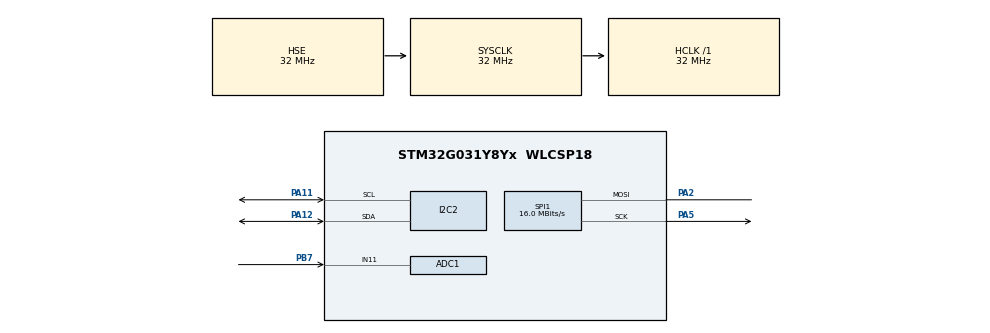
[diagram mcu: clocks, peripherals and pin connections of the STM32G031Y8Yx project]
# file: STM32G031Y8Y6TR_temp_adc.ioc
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ADC1.Channel-1\#ChannelRegularConversion=ADC_CHANNEL_11
ADC1.NbrOfConversionFlag=1
ADC1.Rank-1\#ChannelRegularConversion=1
ADC1.SamplingTime-1\#ChannelRegularConversion=ADC_SAMPLINGTIME_COMMON_1
ADC1.SelectedChannel=ADC_CHANNEL_11
ADC1.master=1
Dma.Request0=SPI1_TX
Dma.SPI1_TX.0.Direction=DMA_MEMORY_TO_PERIPH
Dma.SPI1_TX.0.EventEnable=DISABLE
Dma.SPI1_TX.0.Instance=DMA1_Channel1
Dma.SPI1_TX.0.MemDataAlignment=DMA_MDATAALIGN_BYTE
Dma.SPI1_TX.0.MemInc=DMA_MINC_ENABLE
Dma.SPI1_TX.0.Mode=DMA_NORMAL
Dma.SPI1_TX.0.PeriphDataAlignment=DMA_PDATAALIGN_BYTE
Dma.SPI1_TX.0.PeriphInc=DMA_PINC_DISABLE
Dma.SPI1_TX.0.Polarity=HAL_DMAMUX_REQ_GEN_RISING
Dma.SPI1_TX.0.Priority=DMA_PRIORITY_LOW
Dma.SPI1_TX.0.RequestNumber=1
Dma.SPI1_TX.0.SignalID=NONE
Dma.SPI1_TX.0.SyncEnable=DISABLE
Dma.SPI1_TX.0.SyncPolarity=HAL_DMAMUX_SYNC_NO_EVENT
Dma.SPI1_TX.0.SyncRequestNumber=1
Dma.SPI1_TX.0.SyncSignalID=NONE
I2C2.Timing=0x00B07CB4
Mcu.Family=STM32G0
Mcu.Name=STM32G031Y8Yx
Mcu.Package=WLCSP18
NVIC.DMA1_Channel1_IRQn=true\:0\:0\:false\:false\:true\:false\:true\:true
PA11\ [PA9].Mode=I2C
PA11\ [PA9].Signal=I2C2_SCL
PA12\ [PA10].Mode=I2C
PA12\ [PA10].Signal=I2C2_SDA
PA14-BOOT0__PA15.StandardMode=true
PA2.Mode=Simplex_Bidirectional_Master
PA2.Signal=SPI1_MOSI
PA3__PA4.StandardMode=true
PA5.Mode=Simplex_Bidirectional_Master
PA5.Signal=SPI1_SCK
PB0__PB1__PB2__PA8.StandardMode=true
PB3__PB4__PB5__PB6.StandardMode=true
PB7.Mode=IN11
PB7.Signal=ADC1_IN11
PB7__PB8.StandardMode=true
PC14-OSC32_IN\ (PC14).Mode=HSE-External-Clock-Source
PC14-OSC32_IN\ (PC14).Signal=RCC_OSC_IN
PC14-OSC32_IN\ (PC14)__PB9.StandardMode=true
PF2\ -\ NRST__PA0.StandardMode=true
ProjectManager.HeapSize=0x200
ProjectManager.StackSize=0x400
ProjectManager.TargetToolchain=STM32CubeIDE
RCC.ADCFreq_Value=32000000
RCC.AHBFreq_Value=32000000
RCC.CortexFreq_Value=32000000
RCC.EXTERNAL_CLOCK_VALUE=12288000
RCC.HCLKFreq_Value=32000000
RCC.HSE_VALUE=32000000
RCC.HSI_VALUE=16000000
RCC.LSE_VALUE=32768
RCC.SYSCLKFreq_VALUE=32000000
RCC.SYSCLKSource=RCC_SYSCLKSOURCE_HSE
RCC.VCOOutputFreq_Value=128000000
SPI1.CalculateBaudRate=16.0 MBits/s
SPI1.Direction=SPI_DIRECTION_1LINE
SPI1.Mode=SPI_MODE_MASTER
SPI1.VirtualType=VM_MASTER
board=custom

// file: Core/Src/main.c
/* USER CODE BEGIN Header */
/**
  ******************************************************************************
  * @file           : main.c
  * @brief          : Main program body
  ******************************************************************************
  * @attention
  *
  * Copyright (c) 2025 STMicroelectronics.
  * All rights reserved.
  *
  * This software is licensed under terms that can be found in the LICENSE file
  * in the root directory of this software component.
  * If no LICENSE file comes with this software, it is provided AS-IS.
  *
  ******************************************************************************
  */
/* USER CODE END Header */
#include "main.h"

/* USER CODE BEGIN Includes */
#include <string.h> // For memcpy
#include "../Inc/jv_bt+packet_lib/jv_bt+packet.h"
#include "../Inc/jv_bt+packet_lib/jv_bt+bsc.h"
#include "../Inc/jv_bt+packet_lib/crc.h"

#define BLE_CHANNEL 37

#define BLE_PACKET_TYPE UNCODED_1MBPS
//#define BLE_PACKET_TYPE UNCODED_2MBPS
//#define BLE_PACKET_TYPE CODED_S2
//#define BLE_PACKET_TYPE CODED_S8

volatile uint8_t spiTxComplete = 0;

// Variables for BLE Packet Generation (mimicking different_project)
uint8_t AdvA[] = {0x12, 0x34, 0x56, 0x78, 0x9a, 0xbc}; // Example AdvA
//uint8_t AdvA[] = {0xab, 0xab, 0xab, 0xab, 0xab, 0xab};

uint8_t AdvData[] = {0xb5, 0xef, 0xbe, 0x01, 0x00, 0x0f, //Data
					0x6d, 0x16, 0xbb, 0xa9, 0xa2, 0x7c,
					0xa6, 0x80, 0x42, 0x60, 0x59, 0x20,
					0x01, 0x6c, 0x41, 0x15, 0x02,
					0x00, 0x4c, //Company ID (Apple, Inc.)
					0xff, //Type (Manufacturer Specific)
					0x1a, //length of (Data)+(CompanyID)+(Type) = 26
					0x04, //sets "BR/EDR Not Supported" to be true  	<-- ??idk what that term means??
						  	  	  //
					0x01, //Type (Flags) 								<-- ??idk what this means??
					0x02}; //length of flags = 2

uint8_t AdvData[30]; // Declared as a fixed-size array to hold dynamic data

jv_ble_pdu pdu;
jv_ble_packet packet;
uint32_t ble_tx_buffer[200]; // Buffer for upscaled data
uint32_t upscaled_length;    // Length of upscaled data in bytes
/* USER CODE END Includes */

/* USER CODE BEGIN PTD */
#define ADC_VREF_VOLTAGE 2.5f

#include <stdio.h> // For sprintf, if you want to print to console
//#include <string.h> // library already included above

#define STS40_I2C_ADDR (0x46 << 1) // STM32 HAL uses 8-bit address

#define DATA_BUFFER_SIZE 100
float temperature_buffer[DATA_BUFFER_SIZE];
float voltage_buffer[DATA_BUFFER_SIZE];     // Voltage buffer
uint16_t data_buffer_index = 0;             // Using one index for both buffers

// STS40 Measurement Command (High Precision)
const uint8_t cmd_measure_temp_high_precision[] = {0xFD}; // Example command byte

// STS40 Soft Reset Command
const uint8_t cmd_soft_reset[] = {0x94}; // Example command byte
/* USER CODE END PTD */

ADC_HandleTypeDef hadc1;

I2C_HandleTypeDef hi2c2;

SPI_HandleTypeDef hspi1;
DMA_HandleTypeDef hdma_spi1_tx;

void SystemClock_Config(void);
static void MX_GPIO_Init(void);
static void MX_DMA_Init(void);
static void MX_ADC1_Init(void);
static void MX_I2C2_Init(void);
static void MX_SPI1_Init(void);

/* USER CODE BEGIN 0 */
/* Private user code ---------------------------------------------------------*/
/* USER CODE BEGIN 0 */
/**
  * @brief  Calculates CRC-8 checksum for Sensirion sensors.
  * @param  data Pointer to the data array.
  * @param  len  Length of the data array (should be 2 for temperature).
  * @retval CRC-8 checksum.
  */
uint8_t sensirion_common_crc8(const uint8_t* data, uint8_t len) {
    uint8_t crc = 0xFF; // Initialization value
    const uint8_t polynomial = 0x31;

    for (uint8_t i = 0; i < len; ++i) {
        crc ^= data[i];
        for (uint8_t j = 0; j < 8; ++j) {
            if (crc & 0x80) {
                crc = (crc << 1) ^ polynomial;
            } else {
                crc = (crc << 1);
            }
        }
    }
    return crc;
}
/* USER CODE END 0 */

/* USER CODE BEGIN 4 */

/**
  * @brief  Performs a soft reset on the STS40 sensor.
  * @param  hi2c Pointer to a I2C_HandleTypeDef structure that contains
  * the configuration information for the specified I2C.
  * @retval HAL_StatusTypeDef
  */
HAL_StatusTypeDef sts40_soft_reset(I2C_HandleTypeDef *hi2c) {
    HAL_StatusTypeDef status;
    status = HAL_I2C_Master_Transmit(hi2c, STS40_I2C_ADDR, (uint8_t*)cmd_soft_reset, sizeof(cmd_soft_reset), HAL_MAX_DELAY);
    if (status == HAL_OK) {
        HAL_Delay(2); // Wait for reset to complete (typically ~1ms for STS4x)
    }
    return status;
}

/**
  * @brief  Reads temperature from the STS40 sensor.
  * @param  hi2c Pointer to a I2C_HandleTypeDef structure that contains
  * the configuration information for the specified I2C.
  * @param  temperature Pointer to a float where the temperature in Celsius will be stored.
  * @retval HAL_StatusTypeDef HAL_OK if successful, HAL_ERROR otherwise (includes CRC mismatch).
  */
HAL_StatusTypeDef sts40_read_temperature(I2C_HandleTypeDef *hi2c, float *temperature) {
    HAL_StatusTypeDef status;
    uint8_t i2c_data[3]; // 2 bytes for temp, 1 byte for CRC

    // 1. Send Measurement Command
    status = HAL_I2C_Master_Transmit(hi2c, STS40_I2C_ADDR, (uint8_t*)cmd_measure_temp_high_precision, sizeof(cmd_measure_temp_high_precision), HAL_MAX_DELAY);
    if (status != HAL_OK) {
        return status;
    }

    // 2. Wait for measurement to complete (High precision typically ~8.5 ms, check datasheet)
    // For STS40, typical measurement duration for high precision is 8.5ms.
    HAL_Delay(10); // Wait 10ms

    // 3. Read Temperature Data (2 bytes) and CRC (1 byte)
    status = HAL_I2C_Master_Receive(hi2c, STS40_I2C_ADDR, i2c_data, 3, HAL_MAX_DELAY);
    if (status != HAL_OK) {
        return status;
    }

    // 4. CRC Check
    uint8_t received_crc = i2c_data[2];
    uint8_t calculated_crc = sensirion_common_crc8(i2c_data, 2); // CRC is calculated over the two data bytes

    if (received_crc != calculated_crc) {
        return HAL_ERROR; // CRC Mismatch
    }

    // 5. Convert Raw Data to Temperature
    // Temperature raw data is MSB first
    uint16_t raw_temp_ticks = ((uint16_t)i2c_data[0] << 8) | i2c_data[1];

    // Formula for STS4x: Temperature_C = -45 + 175 * (raw_temp_ticks / (2^16 - 1))
    // Or, if the sensor output is scaled ticks: Temperature_C = (raw_temp_ticks * 175 / 65535.0) - 45;
    // A common Sensirion scaling is also T = raw / 200.0 for some sensors,
    // or T_ticks / 65535 * 175 – 45
    // For STS4x specifically, the formula is: T [°C] = -45 + 175 * (S_T / (2^16 - 1))
    *temperature = -45.0f + 175.0f * (float)raw_temp_ticks / 65535.0f;

    return HAL_OK;
}
/* USER CODE END 0 */

/**
  * @brief  The application entry point.
  * @retval int
  */

/*
void HAL_SPI_TxCpltCallback(SPI_HandleTypeDef *hspi){
	spiTxComplete = 1;
}*/

int main(void)
{

  /* USER CODE BEGIN 1 */
	uint32_t raw_adc_value;
	float current_voltage;

  /* USER CODE END 1 */

  /* MCU Configuration--------------------------------------------------------*/

  /* Reset of all peripherals, Initializes the Flash interface and the Systick. */
  HAL_Init();

  /* USER CODE BEGIN Init */

  /* USER CODE END Init */

  /* Configure the system clock */
  SystemClock_Config();

  /* USER CODE BEGIN SysInit */

  /* USER CODE END SysInit */

  /* Initialize all configured peripherals */
  MX_GPIO_Init();
  MX_DMA_Init();
  MX_ADC1_Init();
  MX_I2C2_Init();
  MX_SPI1_Init();
  /* USER CODE BEGIN 2 */

  /* USER CODE END 2 */

  /* Infinite loop */
  /* USER CODE BEGIN WHILE */

  //only transmitting a fixed number of dynamic BLE packets
      //HAL_Delay(7000);

  /*uint16_t transmit_num = 10000;
        while (1)
            {
      	  uint16_t i = 0;
      	  while (i < transmit_num) {
                float current_temperature;
                HAL_StatusTypeDef sensor_status = sts40_read_temperature(&hi2c2, &current_temperature);

                	// --- ADC Voltage Reading ---
          		HAL_ADC_Start(&hadc1); // Start ADC conversion
          		if (HAL_ADC_PollForConversion(&hadc1, HAL_MAX_DELAY) == HAL_OK) // Poll for end of conversion
          		{
          			raw_adc_value = HAL_ADC_GetValue(&hadc1); // Get raw ADC value
          			current_voltage = (raw_adc_value / 4095.0f) * ADC_VREF_VOLTAGE; // Calculate voltage
          		}
          		else
          		{
          			// Handle ADC conversion error if necessary
          			current_voltage = -1.0f; // Indicate error or default value
          			// Optional: Print ADC error to UART
          			// char error_uart_buf[50];
          			// sprintf(error_uart_buf, "ADC Read Error\r\n");
          			// HAL_UART_Transmit(&huart2, (uint8_t*)error_uart_buf, strlen(error_uart_buf), HAL_MAX_DELAY);
          		}
          		HAL_ADC_Stop(&hadc1); // Stop ADC (optional if not much else is time critical right after)
          		// --- End ADC Voltage Reading ---

                if (sensor_status == HAL_OK) {
                    // Store temperature and voltage in buffer
          		  temperature_buffer[data_buffer_index] = current_temperature;
          		  voltage_buffer[data_buffer_index] = current_voltage;

          		  // Increment and manage buffer index
          			data_buffer_index++;
          			if (data_buffer_index >= DATA_BUFFER_SIZE) {
          				data_buffer_index = 0; // Reset index, overwrite oldest
          			}

          			// Print temperature and voltage via UART
          			//char uart_buf[100]; // Adjusted buffer size for more data
          			//sprintf(uart_buf, "Temp: %.2f C, Volt: %.2f V\r\n", current_temperature, current_voltage);
          			//HAL_UART_Transmit(&huart2, (uint8_t*)uart_buf, strlen(uart_buf), HAL_MAX_DELAY);

                    // Optional: Print temperature (e.g., via UART)
                    //char uart_buf[50];
                    //sprintf(uart_buf, "Temperature: %.2f C\r\n", current_temperature);
                    //HAL_UART_Transmit(&huart2, (uint8_t*)uart_buf, strlen(uart_buf), HAL_MAX_DELAY); // Assuming huart1 is configured

          			// **** START OF ADDED CODE FOR AdvData AND BLE TRANSMISSION ****
      			  // Store current_temperature and current_voltage in AdvData array
      			  // Temperature (4 bytes) at AdvData[0-3]
      			  memcpy(&AdvData[0], &current_temperature, sizeof(float));

      			  // Delimiter (1 byte) at AdvData[4]
      			  AdvData[4] = 0x00; // Set delimiter byte to zero

      			  // Voltage (4 bytes) at AdvData[5-8]
      			  memcpy(&AdvData[5], &current_voltage, sizeof(float));

      			  // Fill the rest of AdvData with zeros (from index 9 to 29)
      			  // sizeof(AdvData) is 30, so 30 - 9 = 21 bytes to zero out
      			  memset(&AdvData[9], 0x00, sizeof(AdvData) - 9);

      			  // --- BLE Packet Generation ---
      			  // 1. Create PDU (re-create each time with updated AdvData)
      			  if (create_legacy_advertising_pdu(&pdu, AdvA, sizeof(AdvA), AdvData, sizeof(AdvData)) != 0) {
      				  Error_Handler(); // Handle error if PDU creation fails
      			  }

      			  // 2. Initialize Packet (includes whitening, CRC)
      			  if (init_packet(&packet, BLE_CHANNEL, &pdu, BLE_PACKET_TYPE) != 0) {
      				  Error_Handler(); // Handle error if packet init fails
      			  }

      			//memset(packet.whitened_packet, 0x00, packet.packet_len);
      			//memset(packet.whitened_packet, 0xFF, packet.packet_len);

      			  // 3. Upscale packet for backscatter transmission
      			  #if BLE_PACKET_TYPE == UNCODED_1MBPS
      				  upscaled_length = jv_bsc_upscale_1Mbps(ble_tx_buffer, packet.whitened_packet, packet.packet_len);
      			  #elif BLE_PACKET_TYPE == UNCODED_2MBPS
      				  upscaled_length = jv_bsc_upscale_2Mbps(ble_tx_buffer, packet.whitened_packet, packet.packet_len);
      			  #else
      				  #error "Unsupported BLE_PACKET_TYPE for jv_bsc_upscale"
      			  #endif

      			  //REVERSE BITS
      			  uint8_t *p_tx_buffer_byte = (uint8_t *)ble_tx_buffer;
    			  for (uint32_t k = 0; k < upscaled_length; k++) {
    				  p_tx_buffer_byte[k] = ~p_tx_buffer_byte[k]; // Apply bitwise NOT to each byte
    			  }

      			  // --- SPI DMA Transmission for a single packet ---
      			  spiTxComplete = 0; // Reset transmission complete flag

      			  // Transmit the upscaled packet buffer.
      			  if (HAL_SPI_Transmit_DMA(&hspi1, (uint8_t*)ble_tx_buffer, (uint16_t)upscaled_length) != HAL_OK)
      			  {
      				Error_Handler();
      			  }

      			  // Wait for DMA transmission to complete (flag set in HAL_SPI_TxCpltCallback)
      			  while (spiTxComplete == 0)
      			  {
      				 // You can add a small delay or WFE instruction here if needed
      			  }
      			  // **** END OF ADDED CODE ****

                } else if (sensor_status == HAL_ERROR) {
                    // Handle CRC error or other I2C communication error with sensor
              	  //char uart_buf[100]; // Adjusted buffer size
          		  // Also print the last known or error voltage if desired
          		  //sprintf(uart_buf, "Sensor Error, Last Volt: %.2f V\r\n", current_voltage);
          	      //HAL_UART_Transmit(&huart2, (uint8_t*)uart_buf, strlen(uart_buf), HAL_MAX_DELAY);

                    //char uart_buf[50];
                    //sprintf(uart_buf, "Sensor read error (CRC or I2C)\r\n");
                    //HAL_UART_Transmit(&huart2, (uint8_t*)uart_buf, strlen(uart_buf), HAL_MAX_DELAY);
                    // Consider a sensor reset or other recovery mechanism
                    // sts40_soft_reset(&hi2c2);
                    // HAL_Delay(100);
                } else {
                    // Handle other HAL I2C errors (e.g., NACK, Bus Busy)
              	  //char uart_buf[100]; // Adjusted buffer size
          		  //sprintf(uart_buf, "I2C Bus Error: %d, Last Volt: %.2f V\r\n", sensor_status, current_voltage);
          		  //HAL_UART_Transmit(&huart2, (uint8_t*)uart_buf, strlen(uart_buf), HAL_MAX_DELAY);

                    //char uart_buf[50];
                    //sprintf(uart_buf, "I2C Bus Error: %d\r\n", sensor_status);
                    //HAL_UART_Transmit(&huart2, (uint8_t*)uart_buf, strlen(uart_buf), HAL_MAX_DELAY);
                    // Error_Handler(); // Or attempt I2C recovery
                }

                i++;

                HAL_Delay(10); // Read temperature every 1 second

            }
      	  //HAL_Delay(10000);
         }*/

   //infinite loop
  /*while (1)
      {
    	  // 1. Create PDU
    	    if (create_legacy_advertising_pdu(&pdu, AdvA, sizeof(AdvA), AdvData, sizeof(AdvData)) != 0) {
    	        //pdu = [Pdu_Type, AdvA_len+AdvData_len, Advertising Address, Advertising Data]
    	    		//all sections are bit reversed

    	    	Error_Handler(); // Handle error if PDU creation fails
    	    }

    	    // 2. Initialize Packet (includes whitening, CRC)
    	    if (init_packet(&packet, BLE_CHANNEL, &pdu, BLE_PACKET_TYPE) != 0) {
    	    	//whitened_packet = [Preamble, Access Address]
    	    		//all sections are bit reversed

    	        Error_Handler(); // Handle error if packet init fails
    	    }

    	    //memset(packet.whitened_packet, 0xFF, packet.packet_len);   // all 1s
    	    //memset(packet.whitened_packet, 0x00, packet.packet_len); // all 0s

    	    // 3. Upscale packet for backscatter transmission
    	    // Ensure jv_bsc_upscale points to jv_bsc_upscale_1Mbps if using that encoding
    	    #if BLE_PACKET_TYPE == UNCODED_1MBPS
    	        upscaled_length = jv_bsc_upscale_1Mbps(ble_tx_buffer, packet.whitened_packet, packet.packet_len);
    	    #elif BLE_PACKET_TYPE == UNCODED_2MBPS
    	        upscaled_length = jv_bsc_upscale_2Mbps(ble_tx_buffer, packet.whitened_packet, packet.packet_len);
    	    #else
    	        #error "Unsupported BLE_PACKET_TYPE for jv_bsc_upscale"
    	        // Handle other encodings if necessary
    	    #endif

    	    // --- SPI DMA Transmission ---

    		spiTxComplete = 0; // Reset transmission complete flag

    		// Transmit the upscaled packet buffer.
    		// HAL_SPI_Transmit_DMA takes uint8_t pointer and size in data items.
    		// Since SPI is 8-bit, size is number of bytes. upscaled_length is in bytes.
    		if (HAL_SPI_Transmit_DMA(&hspi1, (uint8_t*)ble_tx_buffer, (uint16_t)upscaled_length) != HAL_OK)
    		{
    		  Error_Handler();
    		}
    		// Wait for all DMA transmissions to complete (flag set in HAL_SPI_TxCpltCallback)
    		while (spiTxComplete == 0)
    		{
    		   // You can add a small delay or WFE instruction here if needed
    		   // HAL_Delay(1);
    		   // __WFE(); // Requires enabling events if using sleep modes
    		}
      }*/

         //infinite loop fake dynatomics demo data
  float base_temp_celsius = 25.5f;
  float current_temp_celsius;
  float current_voltage_v = 3.2f;

  // Timer for voltage updates
  uint32_t last_voltage_update_tick = 0;

  while (1)
    {
      /* --- 1. Handle timing for voltage update --- */
      // Check if 700ms have passed since the last update
      if (HAL_GetTick() - last_voltage_update_tick >= 700)
      {
          last_voltage_update_tick = HAL_GetTick(); // Reset the timer

          // Increment voltage by 10mV
          current_voltage_v += 0.010f;

          // If voltage reaches or exceeds 4.2V, reset it to 3.2V
          if (current_voltage_v >= 4.2f) {
              current_voltage_v = 3.2f;
          }
      }

      /* --- 2. Update temperature with random fluctuation --- */
      // Generate a random float between -0.25 and +0.25
      float random_offset = ((float)rand() / (float)RAND_MAX) * 0.5f - 0.25f;
      current_temp_celsius = base_temp_celsius + random_offset;

      /* --- 3. Convert current temperature and voltage to raw hex values --- */
      // Formula for tempValue from tempCelsius: tempValue = (tempCelsius + 45.0) * 65535.0 / 175.0
      uint16_t raw_temp = (uint16_t)((current_temp_celsius + 45.0f) * 65535.0f / 175.0f);

      // Formula for adcValue from voltageInVolts: adcValue = voltageInVolts * 1000.0 * 150.0 / 328.0
      uint16_t raw_adc = (uint16_t)(current_voltage_v * 1000.0f * 150.0f / 328.0f);

      /* --- 4. Populate AdvData array with new values --- */
      // Voltage (MSB first, then LSB)
      AdvData[0] = (raw_adc >> 8) & 0xFF;
      AdvData[1] = raw_adc & 0xFF;
      // Temperature (MSB first, then LSB)
      AdvData[2] = (raw_temp >> 8) & 0xFF;
      AdvData[3] = raw_temp & 0xFF;

      // The line "memset(&AdvData[4], 0x00, sizeof(AdvData) - 4);" has been removed as requested.

      /* --- 5. Transmit the BLE packet --- */
      // 1. Create PDU
      if (create_legacy_advertising_pdu(&pdu, AdvA, sizeof(AdvA), AdvData, sizeof(AdvData)) != 0) {
          Error_Handler();
      }

      // 2. Initialize Packet (includes whitening, CRC)
      if (init_packet(&packet, BLE_CHANNEL, &pdu, BLE_PACKET_TYPE) != 0) {
          Error_Handler();
      }

      //memset(packet.whitened_packet, 0x00, packet.packet_len);
      //memset(packet.whitened_packet, 0xFF, packet.packet_len);

      // 3. Upscale packet for backscatter transmission
      #if BLE_PACKET_TYPE == UNCODED_1MBPS
          upscaled_length = jv_bsc_upscale_1Mbps(ble_tx_buffer, packet.whitened_packet, packet.packet_len);
      #elif BLE_PACKET_TYPE == UNCODED_2MBPS
          upscaled_length = jv_bsc_upscale_2Mbps(ble_tx_buffer, packet.whitened_packet, packet.packet_len);
      #else
          #error "Unsupported BLE_PACKET_TYPE for jv_bsc_upscale"
      #endif

      // --- SPI DMA Transmission ---
      spiTxComplete = 0; // Reset transmission complete flag

      if (HAL_SPI_Transmit_DMA(&hspi1, (uint8_t*)ble_tx_buffer, (uint16_t)upscaled_length) != HAL_OK)
      {
        Error_Handler();
      }

      // Wait for DMA transmission to complete (flag set in HAL_SPI_TxCpltCallback)
      while (spiTxComplete == 0)
      {
         // Wait for interrupt
      }
      /* USER CODE END WHILE */

      /* USER CODE BEGIN 3 */
    }

  /* USER CODE END 3 */
}

/**
  * @brief System Clock Configuration
  * @retval None
  */
void SystemClock_Config(void)
{
  RCC_OscInitTypeDef RCC_OscInitStruct = {0};
  RCC_ClkInitTypeDef RCC_ClkInitStruct = {0};

  /** Configure the main internal regulator output voltage
  */
  HAL_PWREx_ControlVoltageScaling(PWR_REGULATOR_VOLTAGE_SCALE1);

  /** Initializes the RCC Oscillators according to the specified parameters
  * in the RCC_OscInitTypeDef structure.
  */
  RCC_OscInitStruct.OscillatorType = RCC_OSCILLATORTYPE_HSE;
  RCC_OscInitStruct.HSEState = RCC_HSE_BYPASS;
  RCC_OscInitStruct.PLL.PLLState = RCC_PLL_NONE;
  if (HAL_RCC_OscConfig(&RCC_OscInitStruct) != HAL_OK)
  {
    Error_Handler();
  }

  /** Initializes the CPU, AHB and APB buses clocks
  */
  RCC_ClkInitStruct.ClockType = RCC_CLOCKTYPE_HCLK|RCC_CLOCKTYPE_SYSCLK
                              |RCC_CLOCKTYPE_PCLK1;
  RCC_ClkInitStruct.SYSCLKSource = RCC_SYSCLKSOURCE_HSE;
  RCC_ClkInitStruct.AHBCLKDivider = RCC_SYSCLK_DIV1;
  RCC_ClkInitStruct.APB1CLKDivider = RCC_HCLK_DIV1;

  if (HAL_RCC_ClockConfig(&RCC_ClkInitStruct, FLASH_LATENCY_1) != HAL_OK)
  {
    Error_Handler();
  }
}

/**
  * @brief ADC1 Initialization Function
  * @param None
  * @retval None
  */
static void MX_ADC1_Init(void)
{

  /* USER CODE BEGIN ADC1_Init 0 */

  /* USER CODE END ADC1_Init 0 */

  ADC_ChannelConfTypeDef sConfig = {0};

  /* USER CODE BEGIN ADC1_Init 1 */

  /* USER CODE END ADC1_Init 1 */

  /** Configure the global features of the ADC (Clock, Resolution, Data Alignment and number of conversion)
  */
  hadc1.Instance = ADC1;
  hadc1.Init.ClockPrescaler = ADC_CLOCK_SYNC_PCLK_DIV2;
  hadc1.Init.Resolution = ADC_RESOLUTION_12B;
  hadc1.Init.DataAlign = ADC_DATAALIGN_RIGHT;
  hadc1.Init.ScanConvMode = ADC_SCAN_DISABLE;
  hadc1.Init.EOCSelection = ADC_EOC_SINGLE_CONV;
  hadc1.Init.LowPowerAutoWait = DISABLE;
  hadc1.Init.LowPowerAutoPowerOff = DISABLE;
  hadc1.Init.ContinuousConvMode = DISABLE;
  hadc1.Init.NbrOfConversion = 1;
  hadc1.Init.DiscontinuousConvMode = DISABLE;
  hadc1.Init.ExternalTrigConv = ADC_SOFTWARE_START;
  hadc1.Init.ExternalTrigConvEdge = ADC_EXTERNALTRIGCONVEDGE_NONE;
  hadc1.Init.DMAContinuousRequests = DISABLE;
  hadc1.Init.Overrun = ADC_OVR_DATA_PRESERVED;
  hadc1.Init.SamplingTimeCommon1 = ADC_SAMPLETIME_1CYCLE_5;
  hadc1.Init.SamplingTimeCommon2 = ADC_SAMPLETIME_1CYCLE_5;
  hadc1.Init.OversamplingMode = DISABLE;
  hadc1.Init.TriggerFrequencyMode = ADC_TRIGGER_FREQ_HIGH;
  if (HAL_ADC_Init(&hadc1) != HAL_OK)
  {
    Error_Handler();
  }

  /** Configure Regular Channel
  */
  sConfig.Channel = ADC_CHANNEL_11;
  sConfig.Rank = ADC_REGULAR_RANK_1;
  sConfig.SamplingTime = ADC_SAMPLINGTIME_COMMON_1;
  if (HAL_ADC_ConfigChannel(&hadc1, &sConfig) != HAL_OK)
  {
    Error_Handler();
  }
  /* USER CODE BEGIN ADC1_Init 2 */

  /* USER CODE END ADC1_Init 2 */

}

/**
  * @brief I2C2 Initialization Function
  * @param None
  * @retval None
  */
static void MX_I2C2_Init(void)
{

  /* USER CODE BEGIN I2C2_Init 0 */

  /* USER CODE END I2C2_Init 0 */

  /* USER CODE BEGIN I2C2_Init 1 */

  /* USER CODE END I2C2_Init 1 */
  hi2c2.Instance = I2C2;
  hi2c2.Init.Timing = 0x00B07CB4;
  hi2c2.Init.OwnAddress1 = 0;
  hi2c2.Init.AddressingMode = I2C_ADDRESSINGMODE_7BIT;
  hi2c2.Init.DualAddressMode = I2C_DUALADDRESS_DISABLE;
  hi2c2.Init.OwnAddress2 = 0;
  hi2c2.Init.OwnAddress2Masks = I2C_OA2_NOMASK;
  hi2c2.Init.GeneralCallMode = I2C_GENERALCALL_DISABLE;
  hi2c2.Init.NoStretchMode = I2C_NOSTRETCH_DISABLE;
  if (HAL_I2C_Init(&hi2c2) != HAL_OK)
  {
    Error_Handler();
  }

  /** Configure Analogue filter
  */
  if (HAL_I2CEx_ConfigAnalogFilter(&hi2c2, I2C_ANALOGFILTER_ENABLE) != HAL_OK)
  {
    Error_Handler();
  }

  /** Configure Digital filter
  */
  if (HAL_I2CEx_ConfigDigitalFilter(&hi2c2, 0) != HAL_OK)
  {
    Error_Handler();
  }
  /* USER CODE BEGIN I2C2_Init 2 */

  /* USER CODE END I2C2_Init 2 */

}

/**
  * @brief SPI1 Initialization Function
  * @param None
  * @retval None
  */
static void MX_SPI1_Init(void)
{

  /* USER CODE BEGIN SPI1_Init 0 */

  /* USER CODE END SPI1_Init 0 */

  /* USER CODE BEGIN SPI1_Init 1 */

  /* USER CODE END SPI1_Init 1 */
  /* SPI1 parameter configuration*/
  hspi1.Instance = SPI1;
  hspi1.Init.Mode = SPI_MODE_MASTER;
  hspi1.Init.Direction = SPI_DIRECTION_1LINE;
  hspi1.Init.DataSize = SPI_DATASIZE_8BIT;
  hspi1.Init.CLKPolarity = SPI_POLARITY_LOW;
  hspi1.Init.CLKPhase = SPI_PHASE_1EDGE;
  hspi1.Init.NSS = SPI_NSS_SOFT;
  hspi1.Init.BaudRatePrescaler = SPI_BAUDRATEPRESCALER_4; ////changed from prescaler_2 to prescaler_4 to get SPI's 8mhz
  hspi1.Init.FirstBit = SPI_FIRSTBIT_MSB;
  hspi1.Init.TIMode = SPI_TIMODE_DISABLE;
  hspi1.Init.CRCCalculation = SPI_CRCCALCULATION_DISABLE;
  hspi1.Init.CRCPolynomial = 7;
  hspi1.Init.CRCLength = SPI_CRC_LENGTH_DATASIZE;
  hspi1.Init.NSSPMode = SPI_NSS_PULSE_DISABLE;
  if (HAL_SPI_Init(&hspi1) != HAL_OK)
  {
    Error_Handler();
  }
  /* USER CODE BEGIN SPI1_Init 2 */

  /* USER CODE END SPI1_Init 2 */

}

/**
  * Enable DMA controller clock
  */
static void MX_DMA_Init(void)
{

  /* DMA controller clock enable */
  __HAL_RCC_DMA1_CLK_ENABLE();

  /* DMA interrupt init */
  /* DMA1_Channel1_IRQn interrupt configuration */
  HAL_NVIC_SetPriority(DMA1_Channel1_IRQn, 0, 0);
  HAL_NVIC_EnableIRQ(DMA1_Channel1_IRQn);

}

/**
  * @brief GPIO Initialization Function
  * @param None
  * @retval None
  */
static void MX_GPIO_Init(void)
{
  /* USER CODE BEGIN MX_GPIO_Init_1 */

  /* USER CODE END MX_GPIO_Init_1 */

  /* GPIO Ports Clock Enable */
  __HAL_RCC_GPIOB_CLK_ENABLE();
  __HAL_RCC_GPIOA_CLK_ENABLE();
  __HAL_RCC_GPIOC_CLK_ENABLE();

  /* USER CODE BEGIN MX_GPIO_Init_2 */

  /* USER CODE END MX_GPIO_Init_2 */
}

/* USER CODE BEGIN 4 */

/* USER CODE END 4 */

void Error_Handler(void)
{
  __disable_irq();
  while (1)
  {
  }
}
